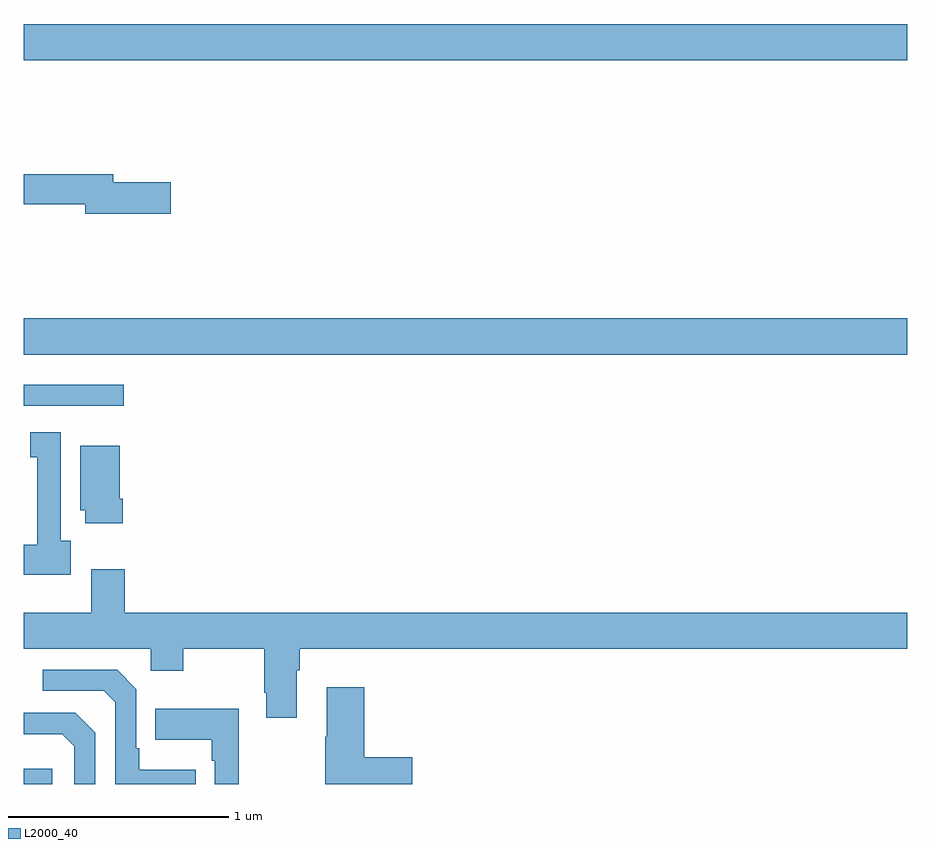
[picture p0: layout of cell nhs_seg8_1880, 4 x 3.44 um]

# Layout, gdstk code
import gdstk
lib = gdstk.Library(unit=1e-6, precision=1e-09)
def R(c, l, rs):  # rectangles x0, y0, x1, y1
    for r in rs: c.add(gdstk.rectangle(r[:2], r[2:], *l))
def P(c, l, *ps):  # polygons
    for p in ps: c.add(gdstk.Polygon(p, *l))
L2000_40 = (2000, 40)

nhs_seg8_1880 = lib.new_cell('nhs_seg8_1880')
R(nhs_seg8_1880, L2000_40, [(231,1103.9,231.13,1103.968), (231,1105.611,231.454,1105.708), (231,1105.844,235,1106.008), (231,1107.176,235,1107.34)])
P(nhs_seg8_1880, L2000_40, [(231.667,1106.624),(231.406,1106.624),(231.406,1106.66),(231,1106.66),(231,1106.524),(231.278,1106.524),(231.278,1106.482),(231.667,1106.482)],
  [(231.214,1105.002),(231.169,1105.002),(231.169,1105.492),(231.029,1105.492),(231.029,1105.379),(231.062,1105.379),(231.062,1104.982),(231,1104.982),(231,1104.848),(231.214,1104.848)],
  [(231.449,1105.192),(231.436,1105.192),(231.436,1105.432),(231.257,1105.432),(231.257,1105.14),(231.278,1105.14),(231.278,1105.08),(231.449,1105.08)],
  [(231.458,1104.871),(231.305,1104.871),(231.305,1104.676),(231,1104.676),(231,1104.512),(231.576,1104.512),(231.576,1104.413),(231.723,1104.413),(231.723,1104.512),(232.09,1104.512),(232.09,1104.313),(232.097,1104.313),(232.097,1104.201),(232.237,1104.201),(232.237,1104.416),(232.25,1104.416),(232.25,1104.512),(235,1104.512),(235,1104.676),(231.458,1104.676)],
  [(231.779,1103.965),(231.523,1103.965),(231.523,1104.061),(231.51,1104.061),(231.51,1104.33),(231.423,1104.417),(231.087,1104.417),(231.087,1104.321),(231.363,1104.321),(231.414,1104.27),(231.414,1103.9),(231.779,1103.9)],
  [(232.759,1104.02),(232.541,1104.02),(232.541,1104.337),(232.373,1104.337),(232.373,1104.113),(232.366,1104.113),(232.366,1103.9),(232.759,1103.9)],
  [(231.973,1104.241),(231.595,1104.241),(231.595,1104.101),(231.852,1104.101),(231.852,1104.005),(231.864,1104.005),(231.864,1103.9),(231.973,1103.9)],
  [(231.324,1104.132),(231.234,1104.222),(231,1104.222),(231,1104.125),(231.175,1104.125),(231.228,1104.072),(231.228,1103.9),(231.324,1103.9)])

lib.write_gds('nhs_seg8_1880.gds')
